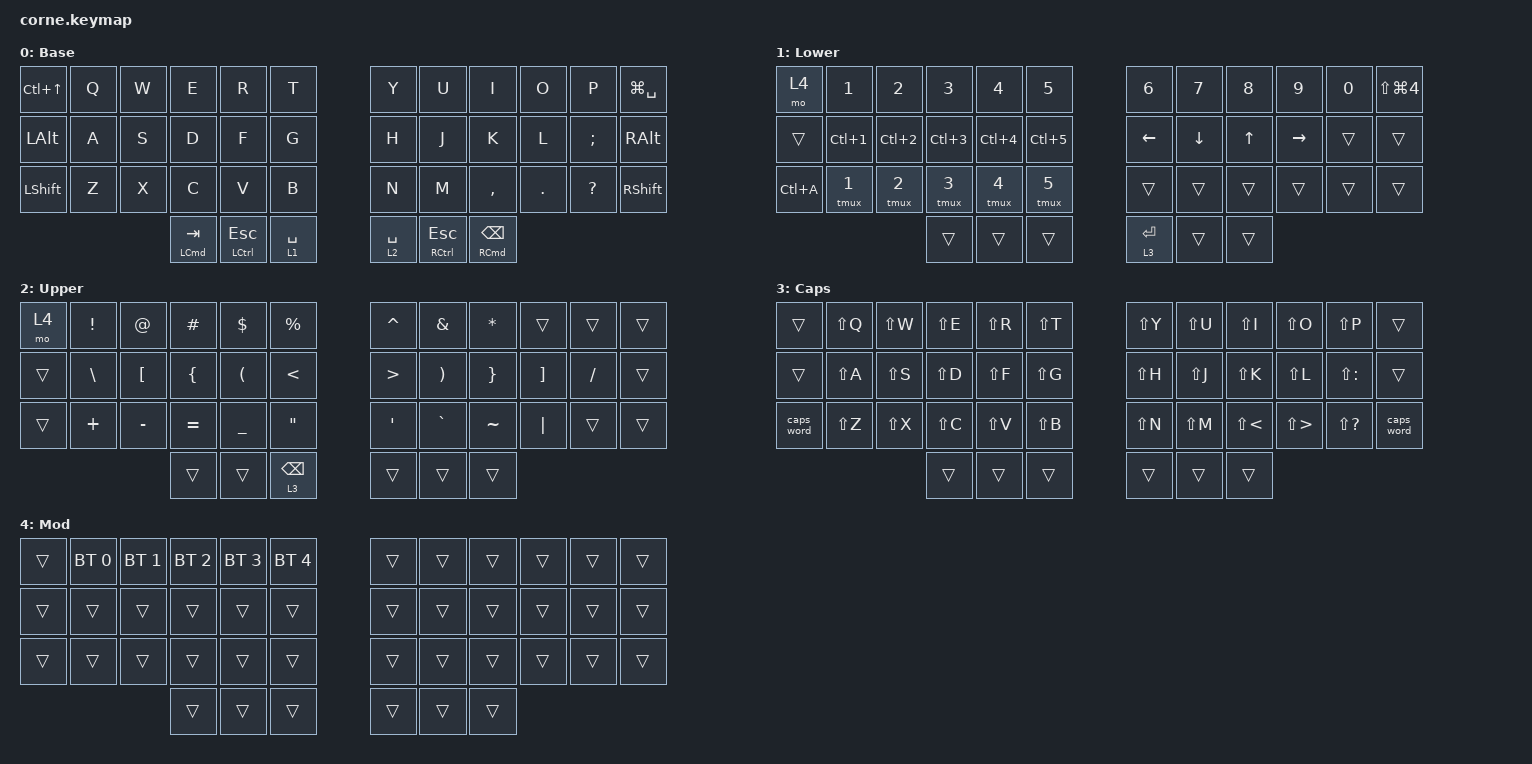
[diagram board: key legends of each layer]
/*
 * Copyright (c) 2020 The ZMK Contributors
 *
 * SPDX-License-Identifier: MIT
 */

#include <behaviors.dtsi>
#include <dt-bindings/zmk/bt.h>
#include <dt-bindings/zmk/keys.h>

/ {
    combos { compatible = "zmk,combos"; };

    macros {
        tmux: tmux {
            compatible = "zmk,behavior-macro-one-param";
            #binding-cells = <1>;
            bindings =
                <&macro_press>,
                <&kp LC(A)>,
                <&macro_tap>,
                <&macro_param_1to1 &kp MACRO_PLACEHOLDER>,
                <&macro_release>,
                <&kp LC(A)>;

            label = "TMUX";
        };
    };

    keymap {
        compatible = "zmk,keymap";

        Base {
            bindings = <
&kp LC(UP)      &kp Q  &kp W  &kp E         &kp R                    &kp T          &kp Y        &kp U                  &kp I               &kp O    &kp P         &kp LG(SPACE)
&kp LEFT_ALT    &kp A  &kp S  &kp D         &kp F                    &kp G          &kp H        &kp J                  &kp K               &kp L    &kp SEMI      &kp RIGHT_ALT
&kp LEFT_SHIFT  &kp Z  &kp X  &kp C         &kp V                    &kp B          &kp N        &kp M                  &kp COMMA           &kp DOT  &kp QUESTION  &kp RIGHT_SHIFT
                              &mt LCMD TAB  &mt LEFT_CONTROL ESCAPE  &lt 1 SPACE    &lt 2 SPACE  &mt RIGHT_CONTROL ESC  &mt RCMD BACKSPACE
            >;
        };

        Lower {
            bindings = <
&mo 4      &kp N1      &kp N2      &kp N3      &kp N4      &kp N5        &kp N6       &kp N7    &kp N8  &kp N9     &kp N0  &kp LS(LG(N4))
&trans     &kp LC(N1)  &kp LC(N2)  &kp LC(N3)  &kp LC(N4)  &kp LC(N5)    &kp LEFT     &kp DOWN  &kp UP  &kp RIGHT  &trans  &trans
&kp LC(A)  &tmux N1    &tmux N2    &tmux N3    &tmux N4    &tmux N5      &trans       &trans    &trans  &trans     &trans  &trans
                                   &trans      &trans      &trans        &lt 3 ENTER  &trans    &trans
            >;
        };

        Upper {
            bindings = <
&mo 4   &kp EXCL       &kp AT            &kp HASH        &kp DLLR              &kp PERCENT          &kp CARET         &kp AMPS               &kp ASTERISK     &trans             &trans     &trans
&trans  &kp BACKSLASH  &kp LEFT_BRACKET  &kp LEFT_BRACE  &kp LEFT_PARENTHESIS  &kp LESS_THAN        &kp GREATER_THAN  &kp RIGHT_PARENTHESIS  &kp RIGHT_BRACE  &kp RIGHT_BRACKET  &kp SLASH  &trans
&trans  &kp PLUS       &kp MINUS         &kp EQUAL       &kp UNDERSCORE        &kp DOUBLE_QUOTES    &kp SQT           &kp GRAVE              &kp TILDE        &kp PIPE           &trans     &trans
                                         &trans          &trans                &lt 3 BACKSPACE      &trans            &trans                 &trans
            >;
        };

        Caps {
            bindings = <
&trans      &kp LS(Q)  &kp LS(W)  &kp LS(E)  &kp LS(R)  &kp LS(T)    &kp LS(Y)  &kp LS(U)  &kp LS(I)   &kp LS(O)   &kp LS(P)      &trans
&trans      &kp LS(A)  &kp LS(S)  &kp LS(D)  &kp LS(F)  &kp LS(G)    &kp LS(H)  &kp LS(J)  &kp LS(K)   &kp LS(L)   &kp LS(COLON)  &trans
&caps_word  &kp LS(Z)  &kp LS(X)  &kp LS(C)  &kp LS(V)  &kp LS(B)    &kp LS(N)  &kp LS(M)  &kp LS(LT)  &kp LS(GT)  &kp LS(QMARK)  &caps_word
                                  &trans     &trans     &trans       &trans     &trans     &trans
            >;
        };

        Mod {
            bindings = <
&trans  &bt BT_SEL 0  &bt BT_SEL 1  &bt BT_SEL 2  &bt BT_SEL 3  &bt BT_SEL 4    &trans  &trans  &trans  &trans  &trans  &trans
&trans  &trans        &trans        &trans        &trans        &trans          &trans  &trans  &trans  &trans  &trans  &trans
&trans  &trans        &trans        &trans        &trans        &trans          &trans  &trans  &trans  &trans  &trans  &trans
                                    &trans        &trans        &trans          &trans  &trans  &trans
            >;
        };
    };
};
